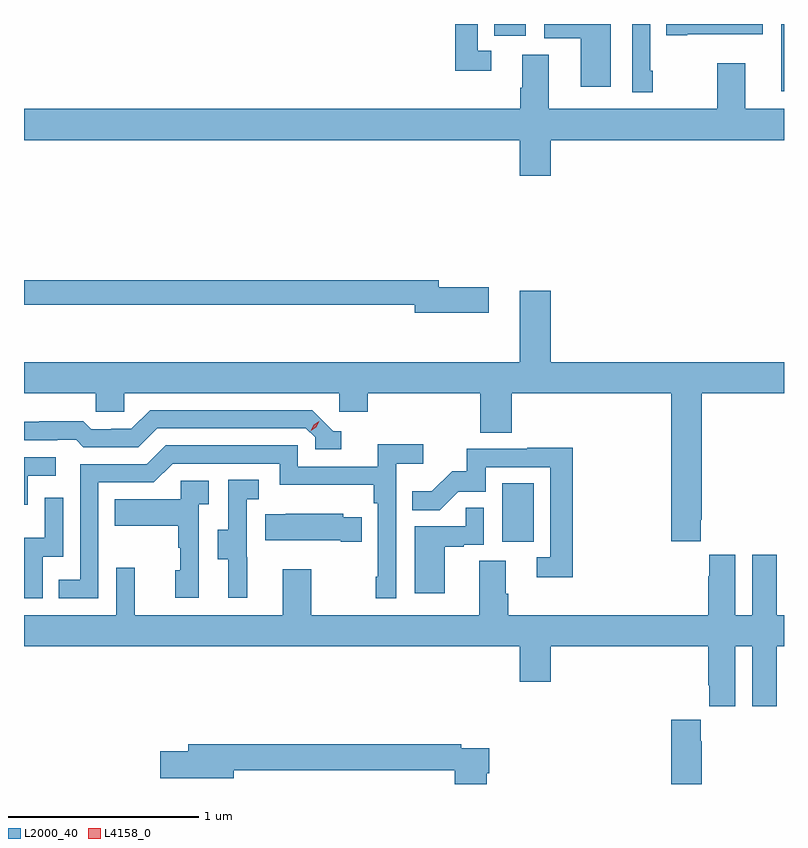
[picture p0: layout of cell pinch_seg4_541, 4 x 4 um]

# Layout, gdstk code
import gdstk
lib = gdstk.Library(unit=1e-6, precision=1e-09)
def R(c, l, rs):  # rectangles x0, y0, x1, y1
    for r in rs: c.add(gdstk.rectangle(r[:2], r[2:], *l))
def P(c, l, *ps):  # polygons
    for p in ps: c.add(gdstk.Polygon(p, *l))
L2000_40 = (2000, 40)
L4158_0 = (4158, 0)

pinch_seg4_541 = lib.new_cell('pinch_seg4_541')
R(pinch_seg4_541, L2000_40, [(1141.94,788.046,1142.104,788.353), (1141.898,790.71,1142.062,790.771)])
P(pinch_seg4_541, L2000_40, [(1142.731,790.525),(1142.718,790.525),(1142.718,790.771),(1142.622,790.771),(1142.622,790.413),(1142.731,790.413)],
  [(1143.422,790.771),(1143.408,790.771),(1143.408,790.629),(1143.407,790.629),(1143.407,790.416),(1143.422,790.416)],
  [(1142.509,790.771),(1142.16,790.771),(1142.16,790.695),(1142.351,790.695),(1142.351,790.44),(1142.509,790.44)],
  [(1141.882,790.629),(1141.809,790.629),(1141.809,790.771),(1141.693,790.771),(1141.693,790.524),(1141.882,790.524)],
  [(1142.914,790.718),(1143.311,790.718),(1143.311,790.771),(1142.803,790.771),(1142.803,790.711),(1142.914,790.711)],
  [(1142.194,790.16),(1143.422,790.16),(1143.422,790.324),(1143.217,790.324),(1143.217,790.564),(1143.07,790.564),(1143.07,790.324),(1142.185,790.324),(1142.185,790.61),(1142.045,790.61),(1142.045,790.436),(1142.033,790.436),(1142.033,790.324),(1139.422,790.324),(1139.422,790.16),(1142.03,790.16),(1142.03,789.972),(1142.194,789.972)],
  [(1141.867,789.386),(1141.606,789.386),(1141.606,789.422),(1139.422,789.422),(1139.422,789.294),(1141.478,789.294),(1141.478,789.251),(1141.867,789.251)],
  [(1142.983,788.161),(1142.988,788.161),(1142.988,788.828),(1143.422,788.828),(1143.422,788.992),(1142.194,788.992),(1142.194,789.367),(1142.03,789.367),(1142.03,788.992),(1139.422,788.992),(1139.422,788.828),(1139.799,788.828),(1139.799,788.73),(1139.949,788.73),(1139.949,788.828),(1141.08,788.828),(1141.08,788.73),(1141.232,788.73),(1141.232,788.828),(1141.823,788.828),(1141.823,788.62),(1141.988,788.62),(1141.988,788.828),(1142.828,788.828),(1142.828,788.049),(1142.983,788.049)],
  [(1141.093,788.628),(1141.05,788.628),(1140.939,788.739),(1140.086,788.739),(1139.987,788.64),(1139.88,788.64),(1139.88,788.637),(1139.777,788.637),(1139.735,788.68),(1139.502,788.68),(1139.502,788.677),(1139.422,788.677),(1139.422,788.58),(1139.597,788.58),(1139.597,788.583),(1139.696,788.583),(1139.735,788.544),(1140.024,788.544),(1140.123,788.643),(1140.906,788.643),(1140.954,788.595),(1140.954,788.532),(1141.093,788.532)],
  [(1139.814,788.358),(1140.105,788.358),(1140.204,788.457),(1140.768,788.457),(1140.768,788.345),(1141.264,788.345),(1141.264,788.249),(1141.284,788.249),(1141.284,787.861),(1141.272,787.861),(1141.272,787.749),(1141.38,787.749),(1141.38,788.456),(1141.522,788.456),(1141.522,788.558),(1141.283,788.558),(1141.283,788.442),(1140.864,788.442),(1140.864,788.553),(1140.167,788.553),(1140.068,788.454),(1139.718,788.454),(1139.718,787.845),(1139.605,787.845),(1139.605,787.749),(1139.814,787.749)],
  [(1142.309,788.54),(1142.071,788.54),(1142.071,788.535),(1141.753,788.535),(1141.753,788.418),(1141.676,788.418),(1141.569,788.311),(1141.465,788.311),(1141.465,788.212),(1141.609,788.212),(1141.707,788.31),(1141.851,788.31),(1141.851,788.439),(1142.193,788.439),(1142.193,787.965),(1142.121,787.965),(1142.121,787.86),(1142.309,787.86)],
  [(1139.442,788.394),(1139.59,788.394),(1139.59,788.49),(1139.422,788.49),(1139.422,788.241),(1139.442,788.241)],
  [(1140.596,787.965),(1140.594,787.965),(1140.594,788.269),(1140.658,788.269),(1140.658,788.372),(1140.498,788.372),(1140.498,788.109),(1140.443,788.109),(1140.443,787.954),(1140.497,787.954),(1140.497,787.752),(1140.596,787.752)],
  [(1140.342,788.243),(1140.394,788.243),(1140.394,788.367),(1140.246,788.367),(1140.246,788.269),(1139.899,788.269),(1139.899,788.129),(1140.234,788.129),(1140.234,788.015),(1140.244,788.015),(1140.244,787.896),(1140.218,787.896),(1140.218,787.752),(1140.342,787.752)],
  [(1139.52,787.968),(1139.628,787.968),(1139.628,788.278),(1139.532,788.278),(1139.532,788.066),(1139.423,788.066),(1139.423,787.858),(1139.422,787.858),(1139.422,787.749),(1139.52,787.749)],
  [(1141.636,788.019),(1141.736,788.019),(1141.736,788.031),(1141.842,788.031),(1141.842,788.225),(1141.747,788.225),(1141.747,788.127),(1141.478,788.127),(1141.478,787.776),(1141.636,787.776)],
  [(1141.199,788.176),(1141.101,788.176),(1141.101,788.194),(1140.799,788.194),(1140.799,788.191),(1140.691,788.191),(1140.691,788.054),(1141.088,788.054),(1141.088,788.047),(1141.199,788.047)],
  [(1143.166,787.496),(1143.254,787.496),(1143.254,787.179),(1143.385,787.179),(1143.385,787.496),(1143.422,787.496),(1143.422,787.66),(1143.385,787.66),(1143.385,787.978),(1143.254,787.978),(1143.254,787.66),(1143.166,787.66),(1143.166,787.978),(1143.029,787.978),(1143.029,787.865),(1143.023,787.865),(1143.023,787.66),(1141.97,787.66),(1141.97,787.772),(1141.957,787.772),(1141.957,787.946),(1141.817,787.946),(1141.817,787.66),(1140.933,787.66),(1140.933,787.9),(1140.785,787.9),(1140.785,787.66),(1140.005,787.66),(1140.005,787.909),(1139.907,787.909),(1139.907,787.66),(1139.422,787.66),(1139.422,787.496),(1142.03,787.496),(1142.03,787.308),(1142.194,787.308),(1142.194,787.496),(1143.023,787.496),(1143.023,787.291),(1143.029,787.291),(1143.029,787.179),(1143.166,787.179)],
  [(1142.988,786.995),(1142.983,786.995),(1142.983,787.108),(1142.828,787.108),(1142.828,786.771),(1142.988,786.771)],
  [(1141.858,786.827),(1141.871,786.827),(1141.871,786.96),(1141.724,786.96),(1141.724,786.98),(1140.287,786.98),(1140.287,786.944),(1140.138,786.944),(1140.138,786.802),(1140.526,786.802),(1140.526,786.844),(1141.688,786.844),(1141.688,786.771),(1141.858,786.771)])
P(pinch_seg4_541, L4158_0, [(1140.93,788.629),(1140.93,788.629),(1140.946,788.662),(1140.977,788.681),(1140.977,788.681),(1140.977,788.681),(1140.961,788.648),(1140.93,788.629)])

lib.write_gds('pinch_seg4_541.gds')
